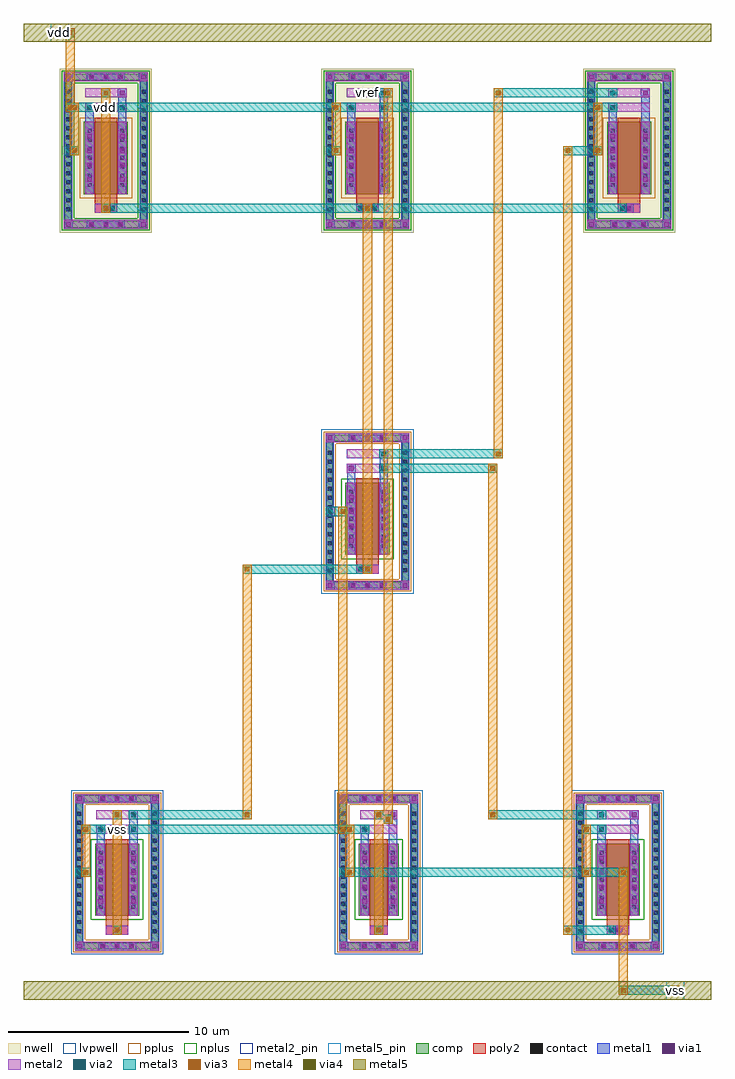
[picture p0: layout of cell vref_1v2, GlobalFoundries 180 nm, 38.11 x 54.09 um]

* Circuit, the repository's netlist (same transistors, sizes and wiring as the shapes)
.lib "/home/huda/.volare/gf180mcuD/libs.tech/ngspice/sm141064.ngspice" typical
.subckt vref_1v2 vdd vss vref
XM3  d1   d1   vdd  vdd  pfet_03v3 L=1.25u W=4u nf=1
XM4  d2   d1   vdd  vdd  pfet_03v3 L=1.25u W=4u nf=1
XM5  vref d1   vdd  vdd  pfet_03v3 L=1.25u W=4u nf=1
XM1  d1   d1   vss  vss  nfet_03v3 L=1.25u W=4u nf=1
XM2  d2   d1   src2 vss  nfet_03v3 L=1.25u W=4u nf=1
XM_r src2 vdd  vss  vss  nfet_03v3 L=1.25u W=4u nf=1
XM6  vref vref vss  vss  nfet_03v3 L=1u    W=4u nf=1
.ends

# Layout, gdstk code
import gdstk
lib = gdstk.Library(unit=1e-6, precision=5e-09)
def R(c, l, rs):  # rectangles x0, y0, x1, y1
    for r in rs: c.add(gdstk.rectangle(r[:2], r[2:], *l))
def A(c, l, x, y, w, h, nx, ny, dx, dy):  # array of equal rectangles
    R(c, l, [(x+i*dx, y+j*dy, x+i*dx+w, y+j*dy+h) for i in range(nx) for j in range(ny)])
def P(c, l, *ps):  # polygons
    for p in ps: c.add(gdstk.Polygon(p, *l))
nwell = (21, 0)
comp = (22, 0)
poly2 = (30, 0)
pplus = (31, 0)
nplus = (32, 0)
contact = (33, 0)
metal1 = (34, 0)
via1 = (35, 0)
metal2 = (36, 0)
metal2_pin = (36, 10)
via2 = (38, 0)
via3 = (40, 0)
via4 = (41, 0)
metal3 = (42, 0)
metal4 = (46, 0)
metal5 = (81, 0)
metal5_pin = (81, 10)
lvpwell = (204, 0)

vref_1v2 = lib.new_cell('vref_1v2')
A(vref_1v2, nwell, -2.555, 35.455, 5.11, 9.09, 3, 1, 14.5, 0)
A(vref_1v2, nwell, -2.395, 35.615, 4.79, 8.77, 3, 1, 14.5, 0)
A(vref_1v2, comp, -0.355, -4.265, 0.36, 0.36, 3, 2, 0.8, 8.17)
A(vref_1v2, comp, 14.145, -4.265, 0.36, 0.36, 3, 2, 0.8, 8.17)
A(vref_1v2, comp, 27.395, -4.265, 0.36, 0.36, 3, 2, 0.8, 8.17)
A(vref_1v2, comp, -1.65, -3.43, 0.36, 0.36, 1, 14, 0, 0.5)
A(vref_1v2, comp, 2.54, -3.43, 0.36, 0.36, 1, 14, 0, 0.5)
A(vref_1v2, comp, 12.975, -3.43, 0.36, 0.36, 1, 14, 0, 0.5)
A(vref_1v2, comp, 16.915, -3.43, 0.36, 0.36, 1, 14, 0, 0.5)
A(vref_1v2, comp, 26.1, -3.43, 0.36, 0.36, 1, 14, 0, 0.5)
A(vref_1v2, comp, 30.29, -3.43, 0.36, 0.36, 1, 14, 0, 0.5)
A(vref_1v2, comp, 13.52, 15.735, 0.36, 0.36, 3, 2, 0.8, 8.17)
A(vref_1v2, comp, 12.225, 16.57, 0.36, 0.36, 1, 14, 0, 0.5)
A(vref_1v2, comp, 16.415, 16.57, 0.36, 0.36, 1, 14, 0, 0.5)
A(vref_1v2, comp, -0.98, 35.735, 0.36, 0.36, 3, 2, 0.8, 8.17)
A(vref_1v2, comp, -0.98, 35.735, 1.96, 0.36, 3, 2, 14.5, 8.17)
A(vref_1v2, comp, 13.52, 35.735, 0.36, 0.36, 3, 2, 0.8, 8.17)
A(vref_1v2, comp, 28.02, 35.735, 0.36, 0.36, 3, 2, 0.8, 8.17)
A(vref_1v2, comp, -2.275, 36.57, 0.36, 0.36, 1, 14, 0, 0.5)
A(vref_1v2, comp, 1.915, 36.57, 0.36, 0.36, 1, 14, 0, 0.5)
A(vref_1v2, comp, 12.225, 36.57, 0.36, 0.36, 1, 14, 0, 0.5)
A(vref_1v2, comp, 16.415, 36.57, 0.36, 0.36, 1, 14, 0, 0.5)
A(vref_1v2, comp, 26.725, 36.57, 0.36, 0.36, 1, 14, 0, 0.5)
A(vref_1v2, comp, 30.915, 36.57, 0.36, 0.36, 1, 14, 0, 0.5)
A(vref_1v2, comp, -1.225, 37.595, 2.45, 4, 3, 1, 14.5, 0)
R(vref_1v2, comp, [(-0.355,-4.265,1.605,-3.905), (14.145,-4.265,16.105,-3.905), (27.395,-4.265,29.355,-3.905), (-1.65,-3.43,-1.29,3.43), (2.54,-3.43,2.9,3.43), (12.975,-3.43,13.335,3.43), (16.915,-3.43,17.275,3.43), (26.1,-3.43,26.46,3.43), (30.29,-3.43,30.65,3.43), (-0.6,-2.405,1.85,1.595), (14.025,-2.405,16.225,1.595), (27.15,-2.405,29.6,1.595), (-0.355,3.905,1.605,4.265), (14.145,3.905,16.105,4.265), (27.395,3.905,29.355,4.265), (13.52,15.735,15.48,16.095), (12.225,16.57,12.585,23.43), (16.415,16.57,16.775,23.43), (13.275,17.595,15.725,21.595), (13.52,23.905,15.48,24.265), (-2.275,36.57,-1.915,43.43), (1.915,36.57,2.275,43.43), (12.225,36.57,12.585,43.43), (16.415,36.57,16.775,43.43), (26.725,36.57,27.085,43.43), (30.915,36.57,31.275,43.43)])
P(vref_1v2, comp, [(2.275,44.265),(-2.275,44.265),(-2.275,36.095),(-1.915,36.095),(-1.915,43.905),(1.915,43.905),(1.915,36.095),(-1.915,36.095),(-2.275,36.095),(-2.275,35.735),(2.275,35.735)],
  [(17.275,4.265),(12.975,4.265),(12.975,-3.905),(13.335,-3.905),(13.335,3.905),(16.915,3.905),(16.915,-3.905),(13.335,-3.905),(12.975,-3.905),(12.975,-4.265),(17.275,-4.265)],
  [(30.65,4.265),(26.1,4.265),(26.1,-3.905),(26.46,-3.905),(26.46,3.905),(30.29,3.905),(30.29,-3.905),(26.46,-3.905),(26.1,-3.905),(26.1,-4.265),(30.65,-4.265)],
  [(16.775,24.265),(12.225,24.265),(12.225,16.095),(12.585,16.095),(12.585,23.905),(16.415,23.905),(16.415,16.095),(12.585,16.095),(12.225,16.095),(12.225,15.735),(16.775,15.735)],
  [(2.9,4.265),(-1.65,4.265),(-1.65,-3.905),(-1.29,-3.905),(-1.29,3.905),(2.54,3.905),(2.54,-3.905),(-1.29,-3.905),(-1.65,-3.905),(-1.65,-4.265),(2.9,-4.265)],
  [(16.775,44.265),(12.225,44.265),(12.225,36.095),(12.585,36.095),(12.585,43.905),(16.415,43.905),(16.415,36.095),(12.585,36.095),(12.225,36.095),(12.225,35.735),(16.775,35.735)],
  [(31.275,44.265),(26.725,44.265),(26.725,36.095),(27.085,36.095),(27.085,43.905),(30.915,43.905),(30.915,36.095),(27.085,36.095),(26.725,36.095),(26.725,35.735),(31.275,35.735)])
A(vref_1v2, poly2, -0.625, 36.555, 1.25, 0.5, 3, 1, 14.5, 0)
A(vref_1v2, poly2, -0.18, 36.625, 0.36, 0.36, 3, 1, 14.5, 0)
A(vref_1v2, poly2, -0.625, 37.055, 1.25, 0.3, 3, 1, 14.5, 0)
A(vref_1v2, poly2, -0.625, 37.355, 1.25, 4.48, 3, 1, 14.5, 0)
R(vref_1v2, poly2, [(0,-3.445,1.25,-2.945), (14.625,-3.445,15.625,-2.945), (27.75,-3.445,29,-2.945), (0.445,-3.375,0.805,-3.015), (14.945,-3.375,15.305,-3.015), (28.195,-3.375,28.555,-3.015), (0,-2.945,1.25,-2.645), (14.625,-2.945,15.625,-2.645), (27.75,-2.945,29,-2.645), (0,-2.645,1.25,1.835), (14.625,-2.645,15.625,1.835), (27.75,-2.645,29,1.835), (13.875,16.555,15.125,17.055), (14.32,16.625,14.68,16.985), (13.875,17.055,15.125,17.355), (13.875,17.355,15.125,21.835)])
A(vref_1v2, pplus, -1.455, 37.365, 2.91, 4.46, 3, 1, 14.5, 0)
P(vref_1v2, pplus, [(17.435,4.425),(12.815,4.425),(12.815,-3.745),(13.495,-3.745),(13.495,3.745),(16.755,3.745),(16.755,-3.745),(13.495,-3.745),(12.815,-3.745),(12.815,-4.425),(17.435,-4.425)],
  [(30.81,4.425),(25.94,4.425),(25.94,-3.745),(26.62,-3.745),(26.62,3.745),(30.13,3.745),(30.13,-3.745),(26.62,-3.745),(25.94,-3.745),(25.94,-4.425),(30.81,-4.425)],
  [(16.935,24.425),(12.065,24.425),(12.065,16.255),(12.745,16.255),(12.745,23.745),(16.255,23.745),(16.255,16.255),(12.745,16.255),(12.065,16.255),(12.065,15.575),(16.935,15.575)],
  [(3.06,4.425),(-1.81,4.425),(-1.81,-3.745),(-1.13,-3.745),(-1.13,3.745),(2.38,3.745),(2.38,-3.745),(-1.13,-3.745),(-1.81,-3.745),(-1.81,-4.425),(3.06,-4.425)])
R(vref_1v2, nplus, [(-0.83,-2.635,2.08,1.825), (13.795,-2.635,16.455,1.825), (26.92,-2.635,29.83,1.825), (13.045,17.365,15.955,21.825)])
P(vref_1v2, nplus, [(2.435,44.425),(-2.435,44.425),(-2.435,36.255),(-1.755,36.255),(-1.755,43.745),(1.755,43.745),(1.755,36.255),(-1.755,36.255),(-2.435,36.255),(-2.435,35.575),(2.435,35.575)],
  [(16.935,44.425),(12.065,44.425),(12.065,36.255),(12.745,36.255),(12.745,43.745),(16.255,43.745),(16.255,36.255),(12.745,36.255),(12.065,36.255),(12.065,35.575),(16.935,35.575)],
  [(31.435,44.425),(26.565,44.425),(26.565,36.255),(27.245,36.255),(27.245,43.745),(30.755,43.745),(30.755,36.255),(27.245,36.255),(26.565,36.255),(26.565,35.575),(31.435,35.575)])
A(vref_1v2, contact, -0.285, -4.195, 0.22, 0.22, 3, 2, 0.8, 8.17)
A(vref_1v2, contact, 14.215, -4.195, 0.22, 0.22, 3, 2, 0.8, 8.17)
A(vref_1v2, contact, 27.465, -4.195, 0.22, 0.22, 3, 2, 0.8, 8.17)
A(vref_1v2, contact, -1.58, -3.36, 0.22, 0.22, 1, 14, 0, 0.5)
A(vref_1v2, contact, 2.61, -3.36, 0.22, 0.22, 1, 14, 0, 0.5)
A(vref_1v2, contact, 13.045, -3.36, 0.22, 0.22, 1, 14, 0, 0.5)
A(vref_1v2, contact, 16.985, -3.36, 0.22, 0.22, 1, 14, 0, 0.5)
A(vref_1v2, contact, 26.17, -3.36, 0.22, 0.22, 1, 14, 0, 0.5)
A(vref_1v2, contact, 30.36, -3.36, 0.22, 0.22, 1, 14, 0, 0.5)
A(vref_1v2, contact, -0.39, -2.015, 0.22, 0.22, 1, 7, 0, 0.5)
A(vref_1v2, contact, 1.42, -2.015, 0.22, 0.22, 1, 7, 0, 0.5)
A(vref_1v2, contact, 14.235, -2.015, 0.22, 0.22, 1, 7, 0, 0.5)
A(vref_1v2, contact, 15.795, -2.015, 0.22, 0.22, 1, 7, 0, 0.5)
A(vref_1v2, contact, 27.36, -2.015, 0.22, 0.22, 1, 7, 0, 0.5)
A(vref_1v2, contact, 29.17, -2.015, 0.22, 0.22, 1, 7, 0, 0.5)
A(vref_1v2, contact, 13.59, 15.805, 0.22, 0.22, 3, 2, 0.8, 8.17)
A(vref_1v2, contact, 12.295, 16.64, 0.22, 0.22, 1, 14, 0, 0.5)
A(vref_1v2, contact, 16.485, 16.64, 0.22, 0.22, 1, 14, 0, 0.5)
A(vref_1v2, contact, 13.485, 17.985, 0.22, 0.22, 1, 7, 0, 0.5)
A(vref_1v2, contact, 15.295, 17.985, 0.22, 0.22, 1, 7, 0, 0.5)
A(vref_1v2, contact, -0.91, 35.805, 0.22, 0.22, 3, 2, 0.8, 8.17)
A(vref_1v2, contact, 13.59, 35.805, 0.22, 0.22, 3, 2, 0.8, 8.17)
A(vref_1v2, contact, 28.09, 35.805, 0.22, 0.22, 3, 2, 0.8, 8.17)
A(vref_1v2, contact, -2.205, 36.64, 0.22, 0.22, 1, 14, 0, 0.5)
A(vref_1v2, contact, 1.985, 36.64, 0.22, 0.22, 1, 14, 0, 0.5)
A(vref_1v2, contact, 12.295, 36.64, 0.22, 0.22, 1, 14, 0, 0.5)
A(vref_1v2, contact, 16.485, 36.64, 0.22, 0.22, 1, 14, 0, 0.5)
A(vref_1v2, contact, 26.795, 36.64, 0.22, 0.22, 1, 14, 0, 0.5)
A(vref_1v2, contact, 30.985, 36.64, 0.22, 0.22, 1, 14, 0, 0.5)
A(vref_1v2, contact, -0.11, 36.695, 0.22, 0.22, 3, 1, 14.5, 0)
A(vref_1v2, contact, -1.015, 37.985, 0.22, 0.22, 1, 7, 0, 0.5)
A(vref_1v2, contact, 0.795, 37.985, 0.22, 0.22, 1, 7, 0, 0.5)
A(vref_1v2, contact, 13.485, 37.985, 0.22, 0.22, 1, 7, 0, 0.5)
A(vref_1v2, contact, 15.295, 37.985, 0.22, 0.22, 1, 7, 0, 0.5)
A(vref_1v2, contact, 27.985, 37.985, 0.22, 0.22, 1, 7, 0, 0.5)
A(vref_1v2, contact, 29.795, 37.985, 0.22, 0.22, 1, 7, 0, 0.5)
R(vref_1v2, contact, [(0.515,-3.305,0.735,-3.085), (15.015,-3.305,15.235,-3.085), (28.265,-3.305,28.485,-3.085), (14.39,16.695,14.61,16.915)])
A(vref_1v2, metal1, -1.7, -4.335, 0.5, 0.5, 1, 3, 0, 4.085)
A(vref_1v2, metal1, -0.425, -4.335, 0.5, 0.5, 3, 2, 0.8, 8.17)
A(vref_1v2, metal1, 14.075, -4.335, 0.5, 0.5, 3, 2, 0.8, 8.17)
A(vref_1v2, metal1, 27.325, -4.335, 0.5, 0.5, 3, 2, 0.8, 8.17)
A(vref_1v2, metal1, -1.7, -3.48, 0.46, 0.46, 1, 14, 0, 0.5)
A(vref_1v2, metal1, 2.49, -3.48, 0.46, 0.46, 1, 14, 0, 0.5)
A(vref_1v2, metal1, 12.925, -3.48, 0.46, 0.46, 1, 14, 0, 0.5)
A(vref_1v2, metal1, 16.865, -3.48, 0.46, 0.46, 1, 14, 0, 0.5)
A(vref_1v2, metal1, 26.05, -3.48, 0.46, 0.46, 1, 14, 0, 0.5)
A(vref_1v2, metal1, 30.24, -3.48, 0.46, 0.46, 1, 14, 0, 0.5)
A(vref_1v2, metal1, -0.51, -2.135, 0.46, 0.46, 1, 7, 0, 0.5)
A(vref_1v2, metal1, 1.3, -2.135, 0.46, 0.46, 1, 7, 0, 0.5)
A(vref_1v2, metal1, 14.115, -2.135, 0.46, 0.46, 1, 7, 0, 0.5)
A(vref_1v2, metal1, 15.675, -2.135, 0.46, 0.46, 1, 7, 0, 0.5)
A(vref_1v2, metal1, 27.24, -2.135, 0.46, 0.46, 1, 7, 0, 0.5)
A(vref_1v2, metal1, 29.05, -2.135, 0.46, 0.46, 1, 7, 0, 0.5)
A(vref_1v2, metal1, -0.53, -1.855, 0.5, 0.5, 1, 4, 0, 0.8)
A(vref_1v2, metal1, 1.28, -1.855, 0.5, 0.5, 1, 4, 0, 0.8)
A(vref_1v2, metal1, 14.095, -1.855, 0.5, 0.5, 1, 4, 0, 0.8)
A(vref_1v2, metal1, 15.655, -1.855, 0.5, 0.5, 1, 4, 0, 0.8)
A(vref_1v2, metal1, 27.22, -1.855, 0.5, 0.5, 1, 4, 0, 0.8)
A(vref_1v2, metal1, 29.03, -1.855, 0.5, 0.5, 1, 4, 0, 0.8)
A(vref_1v2, metal1, 12.175, 15.665, 0.5, 0.5, 1, 3, 0, 4.085)
A(vref_1v2, metal1, 13.45, 15.665, 0.5, 0.5, 3, 2, 0.8, 8.17)
A(vref_1v2, metal1, 12.175, 16.52, 0.46, 0.46, 1, 14, 0, 0.5)
A(vref_1v2, metal1, 16.365, 16.52, 0.46, 0.46, 1, 14, 0, 0.5)
A(vref_1v2, metal1, 13.365, 17.865, 0.46, 0.46, 1, 7, 0, 0.5)
A(vref_1v2, metal1, 15.175, 17.865, 0.46, 0.46, 1, 7, 0, 0.5)
A(vref_1v2, metal1, 13.345, 18.145, 0.5, 0.5, 1, 4, 0, 0.8)
A(vref_1v2, metal1, 15.155, 18.145, 0.5, 0.5, 1, 4, 0, 0.8)
A(vref_1v2, metal1, -1.05, 35.665, 0.5, 0.5, 3, 2, 0.8, 8.17)
A(vref_1v2, metal1, -1.05, 35.665, 2.1, 0.5, 3, 2, 14.5, 8.17)
A(vref_1v2, metal1, 13.45, 35.665, 0.5, 0.5, 3, 2, 0.8, 8.17)
A(vref_1v2, metal1, 26.675, 35.665, 0.5, 0.5, 1, 3, 0, 4.085)
A(vref_1v2, metal1, 27.95, 35.665, 0.5, 0.5, 3, 2, 0.8, 8.17)
A(vref_1v2, metal1, -2.325, 36.52, 0.46, 0.46, 1, 14, 0, 0.5)
A(vref_1v2, metal1, 1.865, 36.52, 0.46, 0.46, 1, 14, 0, 0.5)
A(vref_1v2, metal1, 12.175, 36.52, 0.46, 0.46, 1, 14, 0, 0.5)
A(vref_1v2, metal1, 16.365, 36.52, 0.46, 0.46, 1, 14, 0, 0.5)
A(vref_1v2, metal1, 26.675, 36.52, 0.46, 0.46, 1, 14, 0, 0.5)
A(vref_1v2, metal1, 30.865, 36.52, 0.46, 0.46, 1, 14, 0, 0.5)
A(vref_1v2, metal1, -0.25, 36.555, 0.5, 0.5, 3, 1, 14.5, 0)
A(vref_1v2, metal1, -1.135, 37.865, 0.46, 0.46, 1, 7, 0, 0.5)
A(vref_1v2, metal1, 0.675, 37.865, 0.46, 0.46, 1, 7, 0, 0.5)
A(vref_1v2, metal1, 13.365, 37.865, 0.46, 0.46, 1, 7, 0, 0.5)
A(vref_1v2, metal1, 15.175, 37.865, 0.46, 0.46, 1, 7, 0, 0.5)
A(vref_1v2, metal1, 27.865, 37.865, 0.46, 0.46, 1, 7, 0, 0.5)
A(vref_1v2, metal1, 29.675, 37.865, 0.46, 0.46, 1, 7, 0, 0.5)
A(vref_1v2, metal1, -1.155, 38.145, 0.5, 0.5, 1, 4, 0, 0.8)
A(vref_1v2, metal1, 0.655, 38.145, 0.5, 0.5, 1, 4, 0, 0.8)
A(vref_1v2, metal1, 13.345, 38.145, 0.5, 0.5, 1, 4, 0, 0.8)
A(vref_1v2, metal1, 15.155, 38.145, 0.5, 0.5, 1, 4, 0, 0.8)
A(vref_1v2, metal1, 27.845, 38.145, 0.5, 0.5, 1, 4, 0, 0.8)
A(vref_1v2, metal1, 29.655, 38.145, 0.5, 0.5, 1, 4, 0, 0.8)
A(vref_1v2, metal1, -2.325, 39.75, 0.5, 0.5, 3, 1, 14.5, 0)
A(vref_1v2, metal1, -1.135, 41.595, 0.46, 1.05, 3, 1, 14.5, 0)
A(vref_1v2, metal1, 0.675, 41.595, 0.46, 1.85, 3, 1, 14.5, 0)
A(vref_1v2, metal1, -1.155, 42.145, 0.5, 0.5, 3, 1, 14.5, 0)
A(vref_1v2, metal1, 0.655, 42.945, 0.5, 0.5, 3, 1, 14.5, 0)
R(vref_1v2, metal1, [(-1.7,-4.335,-1.2,-3.835), (-1.7,-4.335,-1.24,-3.905), (-0.425,-4.335,1.675,-3.835), (2.45,-4.335,2.95,-3.835), (2.45,-4.335,2.95,-3.835), (2.49,-4.335,2.95,-3.905), (12.925,-4.335,13.425,-3.835), (12.925,-4.335,13.425,-3.835), (12.925,-4.335,13.385,-3.905), (14.075,-4.335,16.175,-3.835), (16.825,-4.335,17.325,-3.835), (16.825,-4.335,17.325,-3.835), (16.865,-4.335,17.325,-3.905), (26.05,-4.335,26.55,-3.835), (26.05,-4.335,26.55,-3.835), (26.05,-4.335,26.51,-3.905), (27.325,-4.335,29.425,-3.835), (30.2,-4.335,30.7,-3.835), (30.2,-4.335,30.7,-3.835), (30.24,-4.335,30.7,-3.905), (-1.7,-3.905,-1.24,3.905), (2.49,-3.905,2.95,3.905), (12.925,-3.905,13.385,3.905), (16.865,-3.905,17.325,3.905), (26.05,-3.905,26.51,3.905), (30.24,-3.905,30.7,3.905), (0.375,-3.445,0.875,-2.945), (14.875,-3.445,15.375,-2.945), (28.125,-3.445,28.625,-2.945), (-0.51,-2.405,-0.05,1.595), (1.3,-2.405,1.76,1.595), (14.115,-2.405,14.575,1.595), (15.675,-2.405,16.135,1.595), (27.24,-2.405,27.7,1.595), (29.05,-2.405,29.51,1.595), (-0.53,-1.855,-0.03,1.045), (1.28,-1.855,1.78,1.045), (14.095,-1.855,14.595,1.045), (15.655,-1.855,16.155,1.045), (27.22,-1.855,27.72,1.045), (29.03,-1.855,29.53,1.045), (12.925,-0.25,13.425,0.25), (12.925,-0.25,13.425,0.25), (26.05,-0.25,26.55,0.25), (26.05,-0.25,26.55,0.25), (26.05,-0.25,26.55,0.25), (-0.51,1.595,-0.05,2.645), (1.3,1.595,1.76,3.445), (14.115,1.595,14.575,2.645), (15.675,1.595,16.135,3.445), (27.24,1.595,27.7,2.645), (29.05,1.595,29.51,3.445), (-0.53,2.145,-0.03,2.645), (14.095,2.145,14.595,2.645), (27.22,2.145,27.72,2.645), (1.28,2.945,1.78,3.445), (15.655,2.945,16.155,3.445), (29.03,2.945,29.53,3.445), (-1.7,3.835,-1.2,4.335), (-0.425,3.835,1.675,4.335), (2.45,3.835,2.95,4.335), (2.45,3.835,2.95,4.335), (12.925,3.835,13.425,4.335), (12.925,3.835,13.425,4.335), (14.075,3.835,16.175,4.335), (16.825,3.835,17.325,4.335), (16.825,3.835,17.325,4.335), (26.05,3.835,26.55,4.335), (26.05,3.835,26.55,4.335), (27.325,3.835,29.425,4.335), (30.2,3.835,30.7,4.335), (30.2,3.835,30.7,4.335), (-1.7,3.905,-1.24,4.335), (2.49,3.905,2.95,4.335), (12.925,3.905,13.385,4.335), (16.865,3.905,17.325,4.335), (26.05,3.905,26.51,4.335), (30.24,3.905,30.7,4.335), (12.175,15.665,12.675,16.165), (12.175,15.665,12.635,16.095), (13.45,15.665,15.55,16.165), (16.325,15.665,16.825,16.165), (16.325,15.665,16.825,16.165), (16.365,15.665,16.825,16.095), (12.175,16.095,12.635,23.905), (16.365,16.095,16.825,23.905), (14.25,16.555,14.75,17.055), (13.365,17.595,13.825,21.595), (15.175,17.595,15.635,21.595), (13.345,18.145,13.845,21.045), (15.155,18.145,15.655,21.045), (13.365,21.595,13.825,22.645), (15.175,21.595,15.635,23.445), (13.345,22.145,13.845,22.645), (15.155,22.945,15.655,23.445), (12.175,23.835,12.675,24.335), (13.45,23.835,15.55,24.335), (16.325,23.835,16.825,24.335), (16.325,23.835,16.825,24.335), (12.175,23.905,12.635,24.335), (16.365,23.905,16.825,24.335), (-2.325,35.665,-1.825,36.165), (-2.325,35.665,-1.825,36.165), (-2.325,35.665,-1.865,36.095), (1.825,35.665,2.325,36.165), (1.825,35.665,2.325,36.165), (1.865,35.665,2.325,36.095), (12.175,35.665,12.675,36.165), (12.175,35.665,12.675,36.165), (12.175,35.665,12.635,36.095), (16.325,35.665,16.825,36.165), (16.325,35.665,16.825,36.165), (16.365,35.665,16.825,36.095), (26.675,35.665,27.175,36.165), (26.675,35.665,27.135,36.095), (30.825,35.665,31.325,36.165), (30.825,35.665,31.325,36.165), (30.865,35.665,31.325,36.095), (-2.325,36.095,-1.865,43.905), (1.865,36.095,2.325,43.905), (12.175,36.095,12.635,43.905), (16.365,36.095,16.825,43.905), (26.675,36.095,27.135,43.905), (30.865,36.095,31.325,43.905), (-1.135,37.595,-0.675,41.595), (0.675,37.595,1.135,41.595), (13.365,37.595,13.825,41.595), (15.175,37.595,15.635,41.595), (27.865,37.595,28.325,41.595), (29.675,37.595,30.135,41.595), (-1.155,38.145,-0.655,41.045), (0.655,38.145,1.155,41.045), (13.345,38.145,13.845,41.045), (15.155,38.145,15.655,41.045), (27.845,38.145,28.345,41.045), (29.655,38.145,30.155,41.045), (-2.325,43.835,-1.825,44.335), (-2.325,43.835,-1.825,44.335), (1.825,43.835,2.325,44.335), (1.825,43.835,2.325,44.335), (12.175,43.835,12.675,44.335), (12.175,43.835,12.675,44.335), (16.325,43.835,16.825,44.335), (16.325,43.835,16.825,44.335), (26.675,43.835,27.175,44.335), (30.825,43.835,31.325,44.335), (30.825,43.835,31.325,44.335), (-2.325,43.905,-1.865,44.335), (1.865,43.905,2.325,44.335), (12.175,43.905,12.635,44.335), (16.365,43.905,16.825,44.335), (26.675,43.905,27.135,44.335), (30.865,43.905,31.325,44.335)])
A(vref_1v2, via1, -1.58, -4.215, 0.26, 0.26, 1, 3, 0, 4.085)
A(vref_1v2, via1, -0.305, -4.215, 0.26, 0.26, 3, 2, 0.8, 8.17)
A(vref_1v2, via1, 14.195, -4.215, 0.26, 0.26, 3, 2, 0.8, 8.17)
A(vref_1v2, via1, 27.445, -4.215, 0.26, 0.26, 3, 2, 0.8, 8.17)
A(vref_1v2, via1, -0.41, -1.735, 0.26, 0.26, 1, 4, 0, 0.8)
A(vref_1v2, via1, 1.4, -1.735, 0.26, 0.26, 1, 4, 0, 0.8)
A(vref_1v2, via1, 14.215, -1.735, 0.26, 0.26, 1, 4, 0, 0.8)
A(vref_1v2, via1, 15.775, -1.735, 0.26, 0.26, 1, 4, 0, 0.8)
A(vref_1v2, via1, 27.34, -1.735, 0.26, 0.26, 1, 4, 0, 0.8)
A(vref_1v2, via1, 29.15, -1.735, 0.26, 0.26, 1, 4, 0, 0.8)
A(vref_1v2, via1, 12.295, 15.785, 0.26, 0.26, 1, 3, 0, 4.085)
A(vref_1v2, via1, 13.57, 15.785, 0.26, 0.26, 3, 2, 0.8, 8.17)
A(vref_1v2, via1, 13.465, 18.265, 0.26, 0.26, 1, 4, 0, 0.8)
A(vref_1v2, via1, 15.275, 18.265, 0.26, 0.26, 1, 4, 0, 0.8)
A(vref_1v2, via1, -0.93, 35.785, 0.26, 0.26, 3, 2, 0.8, 8.17)
A(vref_1v2, via1, 13.57, 35.785, 0.26, 0.26, 3, 2, 0.8, 8.17)
A(vref_1v2, via1, 26.795, 35.785, 0.26, 0.26, 1, 3, 0, 4.085)
A(vref_1v2, via1, 28.07, 35.785, 0.26, 0.26, 3, 2, 0.8, 8.17)
A(vref_1v2, via1, -0.13, 36.675, 0.26, 0.26, 3, 1, 14.5, 0)
A(vref_1v2, via1, -1.035, 38.265, 0.26, 0.26, 1, 4, 0, 0.8)
A(vref_1v2, via1, 0.775, 38.265, 0.26, 0.26, 1, 4, 0, 0.8)
A(vref_1v2, via1, 13.465, 38.265, 0.26, 0.26, 1, 4, 0, 0.8)
A(vref_1v2, via1, 15.275, 38.265, 0.26, 0.26, 1, 4, 0, 0.8)
A(vref_1v2, via1, 27.965, 38.265, 0.26, 0.26, 1, 4, 0, 0.8)
A(vref_1v2, via1, 29.775, 38.265, 0.26, 0.26, 1, 4, 0, 0.8)
A(vref_1v2, via1, -2.205, 39.87, 0.26, 0.26, 3, 1, 14.5, 0)
A(vref_1v2, via1, -1.035, 42.265, 0.26, 0.26, 3, 1, 14.5, 0)
A(vref_1v2, via1, 0.775, 43.065, 0.26, 0.26, 3, 1, 14.5, 0)
R(vref_1v2, via1, [(2.57,-4.215,2.83,-3.955), (13.045,-4.215,13.305,-3.955), (16.945,-4.215,17.205,-3.955), (26.17,-4.215,26.43,-3.955), (30.32,-4.215,30.58,-3.955), (0.495,-3.325,0.755,-3.065), (14.995,-3.325,15.255,-3.065), (28.245,-3.325,28.505,-3.065), (13.045,-0.13,13.305,0.13), (13.045,-0.13,13.305,0.13), (26.17,-0.13,26.43,0.13), (26.17,-0.13,26.43,0.13), (26.17,-0.13,26.43,0.13), (-0.41,2.265,-0.15,2.525), (14.215,2.265,14.475,2.525), (27.34,2.265,27.6,2.525), (1.4,3.065,1.66,3.325), (15.775,3.065,16.035,3.325), (29.15,3.065,29.41,3.325), (2.57,3.955,2.83,4.215), (13.045,3.955,13.305,4.215), (16.945,3.955,17.205,4.215), (26.17,3.955,26.43,4.215), (30.32,3.955,30.58,4.215), (16.445,15.785,16.705,16.045), (14.37,16.675,14.63,16.935), (13.465,22.265,13.725,22.525), (15.275,23.065,15.535,23.325), (16.445,23.955,16.705,24.215), (-2.205,35.785,-1.945,36.045), (1.945,35.785,2.205,36.045), (12.295,35.785,12.555,36.045), (16.445,35.785,16.705,36.045), (30.945,35.785,31.205,36.045), (-2.205,43.955,-1.945,44.215), (1.945,43.955,2.205,44.215), (12.295,43.955,12.555,44.215), (16.445,43.955,16.705,44.215), (30.945,43.955,31.205,44.215)])
A(vref_1v2, metal2, -1.7, -4.335, 0.5, 0.5, 1, 3, 0, 4.085)
A(vref_1v2, metal2, -0.425, -4.335, 0.5, 0.5, 3, 2, 0.8, 8.17)
A(vref_1v2, metal2, 14.075, -4.335, 0.5, 0.5, 3, 2, 0.8, 8.17)
A(vref_1v2, metal2, 27.325, -4.335, 0.5, 0.5, 3, 2, 0.8, 8.17)
A(vref_1v2, metal2, -0.53, -1.855, 0.5, 0.5, 1, 4, 0, 0.8)
A(vref_1v2, metal2, 1.28, -1.855, 0.5, 0.5, 1, 4, 0, 0.8)
A(vref_1v2, metal2, 14.095, -1.855, 0.5, 0.5, 1, 4, 0, 0.8)
A(vref_1v2, metal2, 15.655, -1.855, 0.5, 0.5, 1, 4, 0, 0.8)
A(vref_1v2, metal2, 27.22, -1.855, 0.5, 0.5, 1, 4, 0, 0.8)
A(vref_1v2, metal2, 29.03, -1.855, 0.5, 0.5, 1, 4, 0, 0.8)
A(vref_1v2, metal2, -0.53, 2.145, 0.5, 0.5, 3, 1, 0.905, 0)
A(vref_1v2, metal2, 12.175, 15.665, 0.5, 0.5, 1, 3, 0, 4.085)
A(vref_1v2, metal2, 13.45, 15.665, 0.5, 0.5, 3, 2, 0.8, 8.17)
A(vref_1v2, metal2, 13.345, 18.145, 0.5, 0.5, 1, 4, 0, 0.8)
A(vref_1v2, metal2, 15.155, 18.145, 0.5, 0.5, 1, 4, 0, 0.8)
A(vref_1v2, metal2, -1.915, 35.665, 3.83, 0.5, 3, 2, 14.5, 8.17)
A(vref_1v2, metal2, -1.05, 35.665, 0.5, 0.5, 3, 2, 0.8, 8.17)
A(vref_1v2, metal2, 13.45, 35.665, 0.5, 0.5, 3, 2, 0.8, 8.17)
A(vref_1v2, metal2, 26.675, 35.665, 0.5, 0.5, 1, 3, 0, 4.085)
A(vref_1v2, metal2, 27.95, 35.665, 0.5, 0.5, 3, 2, 0.8, 8.17)
A(vref_1v2, metal2, -0.625, 36.555, 1.25, 0.5, 3, 1, 14.5, 0)
A(vref_1v2, metal2, -1.155, 38.145, 0.5, 0.5, 1, 4, 0, 0.8)
A(vref_1v2, metal2, 0.655, 38.145, 0.5, 0.5, 1, 4, 0, 0.8)
A(vref_1v2, metal2, 13.345, 38.145, 0.5, 0.5, 1, 4, 0, 0.8)
A(vref_1v2, metal2, 15.155, 38.145, 0.5, 0.5, 1, 4, 0, 0.8)
A(vref_1v2, metal2, 27.845, 38.145, 0.5, 0.5, 1, 4, 0, 0.8)
A(vref_1v2, metal2, 29.655, 38.145, 0.5, 0.5, 1, 4, 0, 0.8)
A(vref_1v2, metal2, -2.325, 39.75, 0.5, 0.5, 3, 1, 14.5, 0)
A(vref_1v2, metal2, -1.155, 42.145, 0.5, 0.5, 3, 1, 0.905, 0)
A(vref_1v2, metal2, -1.155, 42.145, 2.31, 0.5, 3, 2, 14.5, 0.8)
R(vref_1v2, metal2, [(31.305,-6.795,31.805,-6.295), (31.305,-6.795,31.805,-6.295), (-1.7,-4.335,-1.2,-3.835), (-1.7,-4.335,-1.29,-3.835), (-1.29,-4.335,2.54,-3.835), (2.45,-4.335,2.95,-3.835), (2.45,-4.335,2.95,-3.835), (2.54,-4.335,2.95,-3.835), (12.925,-4.335,13.425,-3.835), (12.925,-4.335,13.425,-3.835), (12.925,-4.335,13.335,-3.835), (13.335,-4.335,16.915,-3.835), (16.825,-4.335,17.325,-3.835), (16.825,-4.335,17.325,-3.835), (16.915,-4.335,17.325,-3.835), (26.05,-4.335,26.55,-3.835), (26.05,-4.335,26.55,-3.835), (26.05,-4.335,26.46,-3.835), (26.46,-4.335,30.29,-3.835), (30.2,-4.335,30.7,-3.835), (30.2,-4.335,30.7,-3.835), (30.29,-4.335,30.7,-3.835), (0,-3.445,1.25,-2.945), (0.375,-3.445,0.875,-2.945), (0.375,-3.445,0.875,-2.945), (14.625,-3.445,15.625,-2.945), (14.875,-3.445,15.375,-2.945), (14.875,-3.445,15.375,-2.945), (27.75,-3.445,28.25,-2.945), (27.75,-3.445,29,-2.945), (28.125,-3.445,28.625,-2.945), (-0.53,-2.405,-0.03,1.595), (1.28,-2.405,1.78,1.595), (14.095,-2.405,14.595,1.595), (15.655,-2.405,16.155,1.595), (27.22,-2.405,27.72,1.595), (29.03,-2.405,29.53,1.595), (12.925,-0.25,13.425,0.25), (12.925,-0.25,13.425,0.25), (26.05,-0.25,26.55,0.25), (26.05,-0.25,26.55,0.25), (26.05,-0.25,26.55,0.25), (-0.53,2.145,-0.03,2.645), (-0.53,2.145,1.78,2.645), (14.095,2.145,14.595,2.645), (14.095,2.145,14.595,2.645), (14.095,2.145,14.595,2.645), (14.095,2.145,14.595,2.645), (14.095,2.145,16.155,2.645), (27.22,2.145,27.72,2.645), (27.22,2.145,27.72,2.645), (27.22,2.145,29.53,2.645), (15.39,2.695,15.89,3.195), (-0.53,2.945,1.78,3.445), (0.375,2.945,0.875,3.445), (1.28,2.945,1.78,3.445), (1.28,2.945,1.78,3.445), (14.095,2.945,16.155,3.445), (14.875,2.945,15.375,3.445), (15.655,2.945,16.155,3.445), (27.22,2.945,27.72,3.445), (27.22,2.945,29.53,3.445), (29.03,2.945,29.53,3.445), (-1.7,3.835,-1.2,4.335), (-1.7,3.835,-1.29,4.335), (-1.29,3.835,2.54,4.335), (2.45,3.835,2.95,4.335), (2.45,3.835,2.95,4.335), (2.54,3.835,2.95,4.335), (12.925,3.835,13.425,4.335), (12.925,3.835,13.425,4.335), (12.925,3.835,13.335,4.335), (13.335,3.835,16.915,4.335), (16.825,3.835,17.325,4.335), (16.825,3.835,17.325,4.335), (16.915,3.835,17.325,4.335), (26.05,3.835,26.55,4.335), (26.05,3.835,26.55,4.335), (26.05,3.835,26.46,4.335), (26.46,3.835,30.29,4.335), (30.2,3.835,30.7,4.335), (30.2,3.835,30.7,4.335), (30.29,3.835,30.7,4.335), (12.175,15.665,12.675,16.165), (12.175,15.665,12.585,16.165), (12.585,15.665,16.415,16.165), (16.325,15.665,16.825,16.165), (16.325,15.665,16.825,16.165), (16.415,15.665,16.825,16.165), (13.875,16.555,14.375,17.055), (13.875,16.555,15.125,17.055), (14.25,16.555,14.75,17.055), (14.25,16.555,14.75,17.055), (13.345,17.595,13.845,21.595), (15.155,17.595,15.655,21.595), (13.345,22.145,13.845,22.645), (13.345,22.145,15.655,22.645), (15.155,22.145,15.655,22.645), (13.345,22.945,15.655,23.445), (15.155,22.945,15.655,23.445), (15.155,22.945,15.655,23.445), (12.175,23.835,12.675,24.335), (12.175,23.835,12.585,24.335), (12.585,23.835,16.415,24.335), (16.325,23.835,16.825,24.335), (16.325,23.835,16.825,24.335), (16.415,23.835,16.825,24.335), (-2.325,35.665,-1.825,36.165), (-2.325,35.665,-1.825,36.165), (-2.325,35.665,-1.915,36.165), (1.825,35.665,2.325,36.165), (1.825,35.665,2.325,36.165), (1.915,35.665,2.325,36.165), (12.175,35.665,12.675,36.165), (12.175,35.665,12.675,36.165), (12.175,35.665,12.585,36.165), (16.325,35.665,16.825,36.165), (16.325,35.665,16.825,36.165), (16.415,35.665,16.825,36.165), (26.675,35.665,27.175,36.165), (26.675,35.665,27.085,36.165), (30.825,35.665,31.325,36.165), (30.825,35.665,31.325,36.165), (30.915,35.665,31.325,36.165), (-0.25,36.555,0.25,37.055), (-0.25,36.555,0.25,37.055), (0.125,36.555,0.625,37.055), (13.875,36.555,14.375,37.055), (14.25,36.555,14.75,37.055), (14.25,36.555,14.75,37.055), (14.625,36.555,15.125,37.055), (28.375,36.555,28.875,37.055), (28.75,36.555,29.25,37.055), (-1.155,37.595,-0.655,41.595), (0.655,37.595,1.155,41.595), (13.345,37.595,13.845,41.595), (15.155,37.595,15.655,41.595), (27.845,37.595,28.345,41.595), (29.655,37.595,30.155,41.595), (-1.155,42.145,-0.655,42.645), (-1.155,42.145,-0.655,42.645), (13.345,42.145,13.845,42.645), (13.345,42.145,13.845,42.645), (13.345,42.145,13.845,42.645), (15.155,42.145,15.655,42.645), (27.845,42.145,28.345,42.645), (27.845,42.145,28.345,42.645), (27.845,42.145,28.345,42.645), (-0.25,42.945,0.25,43.445), (0.655,42.945,1.155,43.445), (14.25,42.945,14.75,43.445), (15.155,42.945,15.655,43.445), (15.155,42.945,15.655,43.445), (27.845,42.945,28.345,43.445), (29.655,42.945,30.155,43.445), (-2.325,43.835,-1.825,44.335), (-2.325,43.835,-1.825,44.335), (-2.325,43.835,-1.915,44.335), (1.825,43.835,2.325,44.335), (1.825,43.835,2.325,44.335), (1.915,43.835,2.325,44.335), (12.175,43.835,12.675,44.335), (12.175,43.835,12.675,44.335), (12.175,43.835,12.585,44.335), (16.325,43.835,16.825,44.335), (16.325,43.835,16.825,44.335), (16.415,43.835,16.825,44.335), (26.675,43.835,27.175,44.335), (26.675,43.835,27.085,44.335), (30.825,43.835,31.325,44.335), (30.825,43.835,31.325,44.335), (30.915,43.835,31.325,44.335), (-2.805,46.295,-2.305,46.795), (-2.805,46.295,-2.305,46.795)])
R(vref_1v2, metal2_pin, [(0.375,2.145,0.875,2.645), (-0.25,42.145,0.25,42.645), (14.25,42.945,14.75,43.445)])
A(vref_1v2, via2, 13.995, 36.675, 0.26, 0.26, 3, 1, 0.375, 0)
A(vref_1v2, via2, -2.205, 39.87, 0.26, 0.26, 3, 1, 14.5, 0)
R(vref_1v2, via2, [(31.425,-6.675,31.685,-6.415), (31.425,-6.675,31.685,-6.415), (0.495,-3.325,0.755,-3.065), (14.995,-3.325,15.255,-3.065), (27.87,-3.325,28.13,-3.065), (-1.58,-0.13,-1.32,0.13), (13.045,-0.13,13.305,0.13), (13.045,-0.13,13.305,0.13), (26.17,-0.13,26.43,0.13), (26.17,-0.13,26.43,0.13), (26.17,-0.13,26.43,0.13), (-0.41,2.265,-0.15,2.525), (1.4,2.265,1.66,2.525), (14.215,2.265,14.475,2.525), (14.215,2.265,14.475,2.525), (14.215,2.265,14.475,2.525), (27.34,2.265,27.6,2.525), (15.51,2.815,15.77,3.075), (0.495,3.065,0.755,3.325), (1.4,3.065,1.66,3.325), (14.995,3.065,15.255,3.325), (27.34,3.065,27.6,3.325), (13.995,16.675,14.255,16.935), (14.37,16.675,14.63,16.935), (12.295,19.87,12.555,20.13), (15.275,22.265,15.535,22.525), (15.275,23.065,15.535,23.325), (-0.13,36.675,0.13,36.935), (0.245,36.675,0.505,36.935), (28.495,36.675,28.755,36.935), (26.795,39.87,27.055,40.13), (-1.035,42.265,-0.775,42.525), (-1.035,42.265,-0.775,42.525), (0.775,42.265,1.035,42.525), (13.465,42.265,13.725,42.525), (13.465,42.265,13.725,42.525), (15.275,42.265,15.535,42.525), (27.965,42.265,28.225,42.525), (27.965,42.265,28.225,42.525), (-0.13,43.065,0.13,43.325), (15.275,43.065,15.535,43.325), (27.965,43.065,28.225,43.325), (-2.685,46.415,-2.425,46.675), (-2.685,46.415,-2.425,46.675)])
A(vref_1v2, via3, -1.87, 39.87, 0.26, 0.26, 3, 2, 14.5, 2.395)
R(vref_1v2, via3, [(28.55,-6.675,28.81,-6.415), (31.425,-6.675,31.685,-6.415), (0.495,-3.325,0.755,-3.065), (14.995,-3.325,15.255,-3.065), (25.485,-3.325,25.74,-3.065), (-1.245,-0.13,-0.985,0.13), (13.38,-0.13,13.64,0.13), (26.505,-0.13,26.765,0.13), (28.55,-0.13,28.81,0.13), (-1.245,2.265,-0.985,2.525), (13.005,2.265,13.265,2.525), (13.38,2.265,13.64,2.525), (26.505,2.265,26.765,2.525), (15.51,2.815,15.77,3.075), (0.495,3.065,0.755,3.325), (7.7,3.065,7.96,3.325), (14.995,3.065,15.255,3.325), (21.31,3.065,21.57,3.325), (7.7,16.675,7.96,16.935), (14.37,16.675,14.63,16.935), (13.005,19.87,13.265,20.13), (21.31,22.265,21.57,22.525), (21.62,23.065,21.88,23.325), (-0.13,36.675,0.13,36.935), (14.37,36.675,14.63,36.935), (25.485,39.87,25.74,40.13), (-2.11,42.265,-1.85,42.525), (-0.13,43.065,0.13,43.325), (15.51,43.065,15.77,43.325), (21.62,43.065,21.88,43.325), (-2.685,46.415,-2.425,46.675), (-2.11,46.415,-1.85,46.675)])
R(vref_1v2, via4, [(31.425,-6.675,31.685,-6.415), (-2.685,46.415,-2.425,46.675)])
A(vref_1v2, metal3, 13.875, 36.555, 0.5, 0.5, 3, 1, 0.375, 0)
A(vref_1v2, metal3, -2.325, 39.75, 0.585, 0.5, 3, 1, 14.5, 0)
A(vref_1v2, metal3, -1.74, 42.145, 0.585, 0.5, 3, 1, 14.5, 0)
R(vref_1v2, metal3, [(28.43,-6.795,28.93,-6.295), (28.68,-6.795,31.305,-6.295), (31.305,-6.795,31.805,-6.295), (31.305,-6.795,31.805,-6.295), (0.375,-3.445,0.875,-2.945), (14.875,-3.445,15.375,-2.945), (25.36,-3.445,25.86,-2.945), (25.61,-3.445,27.75,-2.945), (27.75,-3.445,28.25,-2.945), (-1.7,-0.25,-1.115,0.25), (-1.7,-0.25,-1.2,0.25), (-1.365,-0.25,-0.865,0.25), (12.925,-0.25,13.51,0.25), (12.925,-0.25,26.05,0.25), (12.925,-0.25,13.425,0.25), (12.925,-0.25,13.425,0.25), (13.26,-0.25,13.76,0.25), (26.05,-0.25,26.635,0.25), (26.05,-0.25,28.68,0.25), (26.05,-0.25,26.55,0.25), (26.05,-0.25,26.55,0.25), (26.05,-0.25,26.55,0.25), (26.385,-0.25,26.885,0.25), (28.43,-0.25,28.93,0.25), (-1.365,2.145,-0.865,2.645), (-1.115,2.145,-0.53,2.645), (-0.53,2.145,-0.03,2.645), (1.28,2.145,1.78,2.645), (1.78,2.145,14.095,2.645), (12.885,2.145,13.385,2.645), (13.135,2.145,14.095,2.645), (13.26,2.145,13.76,2.645), (13.51,2.145,14.095,2.645), (14.095,2.145,14.595,2.645), (14.095,2.145,14.595,2.645), (14.095,2.145,14.595,2.645), (26.385,2.145,26.885,2.645), (26.635,2.145,27.22,2.645), (27.22,2.145,27.72,2.645), (15.39,2.695,15.89,3.195), (0.375,2.945,0.875,3.445), (1.28,2.945,1.78,3.445), (1.78,2.945,7.83,3.445), (7.58,2.945,8.08,3.445), (14.875,2.945,15.375,3.445), (21.19,2.945,21.69,3.445), (21.44,2.945,27.22,3.445), (27.22,2.945,27.72,3.445), (7.58,16.555,8.08,17.055), (7.83,16.555,13.875,17.055), (13.875,16.555,14.375,17.055), (14.25,16.555,14.75,17.055), (12.175,19.75,13.135,20.25), (12.175,19.75,12.675,20.25), (12.885,19.75,13.385,20.25), (15.155,22.145,15.655,22.645), (15.655,22.145,21.44,22.645), (21.19,22.145,21.69,22.645), (15.155,22.945,15.655,23.445), (15.655,22.945,21.75,23.445), (21.5,22.945,22,23.445), (-0.25,36.555,0.25,37.055), (0.125,36.555,0.625,37.055), (0.625,36.555,13.875,37.055), (15.125,36.555,28.375,37.055), (28.375,36.555,28.875,37.055), (-2.325,39.75,-1.825,40.25), (-1.99,39.75,-1.49,40.25), (12.175,39.75,12.675,40.25), (12.51,39.75,13.01,40.25), (25.36,39.75,25.86,40.25), (25.61,39.75,26.675,40.25), (26.675,39.75,27.175,40.25), (26.675,39.75,27.175,40.25), (27.01,39.75,27.51,40.25), (-2.23,42.145,-1.73,42.645), (-1.99,42.145,-1.49,42.645), (-1.98,42.145,-1.155,42.645), (-1.155,42.145,-0.655,42.645), (-1.155,42.145,-0.655,42.645), (0.655,42.145,1.155,42.645), (1.155,42.145,13.345,42.645), (12.51,42.145,13.01,42.645), (13.345,42.145,13.845,42.645), (13.345,42.145,13.845,42.645), (15.155,42.145,15.655,42.645), (15.655,42.145,27.845,42.645), (27.01,42.145,27.51,42.645), (27.845,42.145,28.345,42.645), (27.845,42.145,28.345,42.645), (-0.25,42.945,0.25,43.445), (15.155,42.945,15.655,43.445), (15.39,42.945,15.89,43.445), (15.64,42.945,15.655,43.445), (21.5,42.945,22,43.445), (21.75,42.945,27.845,43.445), (27.845,42.945,28.345,43.445), (-2.805,46.295,-1.98,46.795), (-2.805,46.295,-2.305,46.795), (-2.805,46.295,-2.305,46.795), (-2.23,46.295,-1.73,46.795)])
A(vref_1v2, metal4, -1.99, 40, 0.5, 2.395, 3, 1, 14.5, 0)
A(vref_1v2, metal4, -1.99, 42.145, 0.5, 0.5, 3, 1, 14.5, 0)
R(vref_1v2, metal4, [(28.43,-6.795,28.93,-6.295), (31.305,-6.795,31.805,-6.295), (28.43,-6.545,28.93,0), (0.375,-3.445,0.875,-2.945), (14.875,-3.445,15.375,-2.945), (25.36,-3.445,25.86,-2.945), (25.36,-3.195,25.86,40), (0.375,-2.945,0.875,2.945), (14.875,-2.945,15.375,2.945), (-1.365,-0.25,-0.865,0.25), (13.26,-0.25,13.76,0.25), (26.385,-0.25,26.885,0.25), (28.43,-0.25,28.93,0.25), (-1.365,0,-0.865,2.395), (13.26,0,13.76,2.395), (26.385,0,26.885,2.395), (-1.365,2.145,-0.865,2.645), (12.885,2.145,13.385,2.645), (13.26,2.145,13.76,2.645), (26.385,2.145,26.885,2.645), (12.885,2.395,13.385,20), (15.39,2.695,15.89,3.195), (0.375,2.945,0.875,3.445), (7.58,2.945,8.08,3.445), (14.875,2.945,15.375,3.445), (21.19,2.945,21.69,3.445), (7.58,3.195,8.08,16.805), (15.39,3.195,15.89,43.195), (21.19,3.195,21.69,22.395), (7.58,16.555,8.08,17.055), (14.25,16.555,14.75,17.055), (14.25,17.055,14.75,36.555), (12.885,19.75,13.385,20.25), (21.19,22.145,21.69,22.645), (21.5,22.945,22,23.445), (21.5,23.195,22,43.195), (-0.25,36.555,0.25,37.055), (14.25,36.555,14.75,37.055), (-0.25,37.055,0.25,42.945), (-1.99,39.75,-1.49,40.25), (12.51,39.75,13.01,40.25), (25.36,39.75,25.86,40.25), (27.01,39.75,27.51,40.25), (-2.23,42.145,-1.73,42.645), (-2.23,42.395,-1.73,46.545), (-0.25,42.945,0.25,43.445), (15.39,42.945,15.89,43.445), (21.5,42.945,22,43.445), (-2.805,46.295,-2.305,46.795), (-2.23,46.295,-1.73,46.795)])
R(vref_1v2, metal5, [(-4.555,-7.045,33.555,-6.045), (31.305,-6.795,31.805,-6.295), (-4.555,46.045,33.555,47.045), (-2.805,46.295,-2.305,46.795)])
R(vref_1v2, metal5_pin, [(31.055,-7.045,32.055,-6.045), (-3.055,46.045,-2.055,47.045)])
R(vref_1v2, lvpwell, [(-1.93,-4.545,3.18,4.545), (12.695,-4.545,17.555,4.545), (25.82,-4.545,30.93,4.545), (11.945,15.455,17.055,24.545)])
vref_1v2.add(gdstk.Label('vdd', (-2.555,46.545), layer=81, texttype=10))
vref_1v2.add(gdstk.Label('vss', (31.555,-6.545), layer=81, texttype=10))
vref_1v2.add(gdstk.Label('vref', (14.5,43.195), layer=36, texttype=10))
vref_1v2.add(gdstk.Label('vss', (0.625,2.395), layer=36, texttype=10))
vref_1v2.add(gdstk.Label('vdd', (0,42.395), layer=36, texttype=10))

lib.write_gds('vref_1v2.gds')
